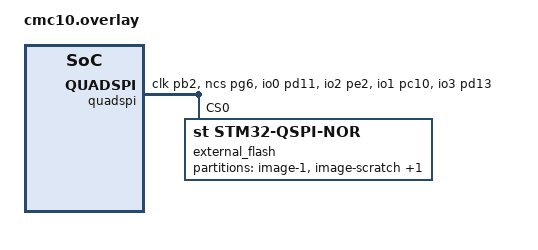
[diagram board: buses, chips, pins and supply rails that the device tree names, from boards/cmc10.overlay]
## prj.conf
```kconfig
CONFIG_CONSOLE=y
CONFIG_LOG=y
CONFIG_FLASH=y
CONFIG_SERIAL=y
```

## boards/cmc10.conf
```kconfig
# Console
CONFIG_CONSOLE=y
CONFIG_UART_CONSOLE=y

# Enable Pinmux
CONFIG_PINMUX=y
CONFIG_GPIO=y

# Enable Flash
CONFIG_GPIO=y
CONFIG_PINMUX=y
CONFIG_FLASH_STM32_QSPI=y

CONFIG_FLASH_LOG_LEVEL_INF=y
CONFIG_LOG_MODE_IMMEDIATE=y
```

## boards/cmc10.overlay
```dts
/ {
        chosen {
                zephyr,flash-controller = &external_flash;
        };
};

&quadspi {
        pinctrl-0 = <
                &quadspi_clk_pb2
                &quadspi_bk1_ncs_pg6
                &quadspi_bk1_io0_pd11
                &quadspi_bk1_io2_pe2
                &quadspi_bk1_io1_pc10
                &quadspi_bk1_io3_pd13
        >;

        status = "okay";

        external_flash: qspi-nor-flash@0 {
                compatible = "st,stm32-qspi-nor";
                label = "external_flash";
                reg = <0>;
                /* Higher frequencies untested */
                qspi-max-frequency = <80000000>;
                size = <(DT_SIZE_K(4096)*8)>;
                status = "okay";
                /* Don't use four lines */

                partitions {
                        compatible = "fixed-partitions";
                        #address-cells = <1>;
                        #size-cells = <1>;

                        /* application image slot: 896KB */
                        slot1_partition: partition@0 {
                                label = "image-1";
                                reg = <0x00000000 DT_SIZE_K(896)>;
                        };

                        /* Scratch slot */
                        scratch_partition: partition@E0000 {
                                label = "image-scratch";
                                reg = <0x000E0000 DT_SIZE_K(128)>;
                        };

                        /* storage: remainder KB for settings */
                        storage_partition: partition@100000 {
                                label = "storage";
                                reg = <0x000100000 DT_SIZE_K(3072)>;
                        };
                };
        };
};

&flash0 {
        partitions {
                compatible = "fixed-partitions";
                #address-cells = <1>;
                #size-cells = <1>;

                /* 128KB for bootloader */
                boot_partition: partition@0 {
                        label = "mcuboot";
                        reg = <0x00000000 DT_SIZE_K(128)>;
                        read-only;
                };

                /* application image slot: 896KB */
                slot0_partition: partition@20000 {
                        label = "image-0";
                        reg = <0x00020000 DT_SIZE_K(896)>;
                };

                /* product configuration slot: 128KB */
                product_info_partition: partition@1E0000 {
                        label = "product_info";
                        reg = <0x001E0000 DT_SIZE_K(128)>;
                        read-only;
                };
        };
};
    
```

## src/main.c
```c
/*
 * Copyright (c) 2023 Nobleo Technology
 *
 * SPDX-License-Identifier: Apache-2.0
 */
#include <stdlib.h>
#include <string.h>

#include <logging/log.h>
#include <drivers/flash.h>
#include <device.h>

#include <storage/flash_map.h>

LOG_MODULE_REGISTER(app);

void main(void)
{
	static const struct device *flash_device;
	int ret = 0;

	/* Get device */
	flash_device = device_get_binding(DT_CHOSEN_ZEPHYR_FLASH_CONTROLLER_LABEL);
	if (flash_device) {
		LOG_INF("Found flash controller %s.\n",
			DT_CHOSEN_ZEPHYR_FLASH_CONTROLLER_LABEL);
	} else {
		LOG_ERR("**No flash controller found!**\n");
		return;
	}

	/* Setup test data */
	const size_t size = DT_PROP(DT_NODELABEL(external_flash), size) / 8;
	LOG_INF("Flash is: %d bytes", size);
	
	size_t i;
	const size_t chunk_size = 4096;
	const size_t nr_chunks = size / chunk_size;

	uint8_t data [chunk_size];
	for (size_t i = 0; i < chunk_size; i++){
		data[i] = i % (UINT8_MAX + 1);
	}
	uint8_t check [chunk_size];
	memset(check, 0, sizeof(chunk_size));


	LOG_INF("Attempting erasing %d chucks of size %d bytes...", nr_chunks, chunk_size);
	for (i = 0; i < nr_chunks; i++){
		if (i % (nr_chunks / 10) == 0){
			LOG_INF("\t Progress %d%%", (i + 1) * 100 / nr_chunks);
		}
		ret = flash_erase(flash_device, i * chunk_size, sizeof(data));
		if (ret != 0) {
			break;
		}
	}
	if (ret != 0) {
		LOG_ERR("Failure to erase flash at chunk %u. Error %d", i, ret);
	} else {
		LOG_INF("Erase success");
	}

	LOG_INF("Attempting writing %d chucks of size %d bytes...", nr_chunks, chunk_size);
	for (i = 0; i < nr_chunks; i++){
		if (i % (nr_chunks / 10) == 0){
			LOG_INF("\t Progress %d%%", (i + 1) * 100 / nr_chunks);
		}
		ret = flash_write(flash_device, i * chunk_size, data, sizeof(data));
		if (ret != 0) {
			break;
		}
	}
	if (ret != 0) {
		LOG_ERR("Failure to write to flash at chunk %u. Error %d", i, ret);
	} else {
		LOG_INF("Write success");
	}

	LOG_INF("Attempting verifying %d chucks of size %d bytes...", nr_chunks, chunk_size);
	for (i = 0; i < nr_chunks; i++){
		if (i % (nr_chunks / 10) == 0){
			LOG_INF("\t Progress %d%%", (i + 1) * 100 / nr_chunks);
		}	
		ret = flash_read(flash_device, i * chunk_size, check, sizeof(check));
		if (ret != 0) {
			LOG_ERR("Failure to read from flash (chunk %u)! Error %d. Aborting.", i, ret);
			return;
		}

		if (memcmp(data, check, sizeof(data)) != 0) { 
			LOG_ERR("Verification FAILED at chunk %d! Aborting.", i);
			return;
		}
	}

	LOG_INF("Verification success! This flash should be safe to use. Done.");
	k_sleep(K_FOREVER);
}
```
